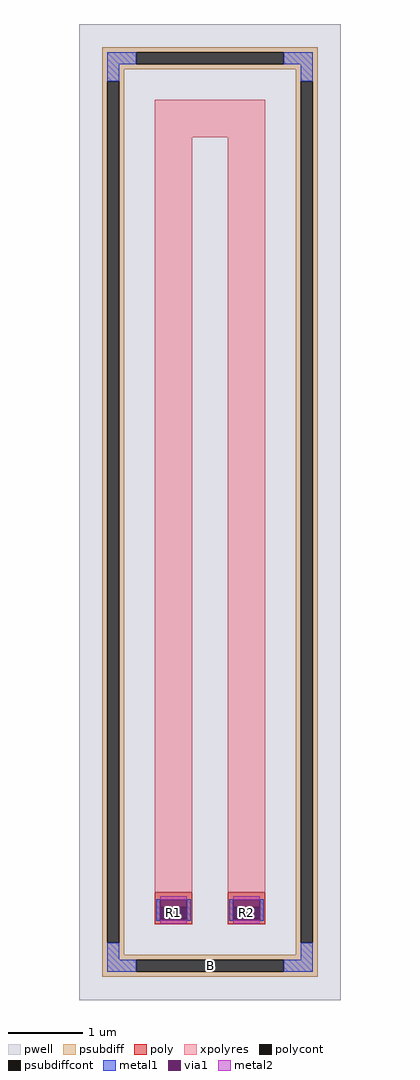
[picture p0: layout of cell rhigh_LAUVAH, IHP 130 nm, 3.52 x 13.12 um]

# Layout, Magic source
magic
tech ihp-sg13g2
magscale 1 2
<< pwell >>
rect -352 -1312 352 1312
<< psubdiff >>
rect -290 1236 290 1250
rect -290 1204 -198 1236
rect 198 1204 290 1236
rect -290 1190 290 1204
rect -290 1158 -230 1190
rect -290 -1158 -276 1158
rect -244 -1158 -230 1158
rect 230 1158 290 1190
rect -290 -1190 -230 -1158
rect 230 -1158 244 1158
rect 276 -1158 290 1158
rect 230 -1190 290 -1158
rect -290 -1204 290 -1190
rect -290 -1236 -198 -1204
rect 198 -1236 290 -1204
rect -290 -1250 290 -1236
<< psubdiffcont >>
rect -198 1204 198 1236
rect -276 -1158 -244 1158
rect 244 -1158 276 1158
rect -198 -1236 198 -1204
<< poly >>
rect -148 -1062 -48 -1022
rect -148 -1094 -134 -1062
rect -62 -1094 -48 -1062
rect -148 -1108 -48 -1094
rect 48 -1062 148 -1022
rect 48 -1094 62 -1062
rect 134 -1094 148 -1062
rect 48 -1108 148 -1094
<< polycont >>
rect -134 -1094 -62 -1062
rect 62 -1094 134 -1062
<< xpolyres >>
rect -148 1008 148 1108
rect -148 -1022 -48 1008
rect 48 -1022 148 1008
<< metal1 >>
rect -276 1204 -198 1236
rect 198 1204 276 1236
rect -276 1158 -244 1204
rect 244 1158 276 1204
rect -144 -1042 -52 -1041
rect -144 -1098 -134 -1042
rect -62 -1098 -52 -1042
rect -144 -1099 -52 -1098
rect 52 -1042 144 -1041
rect 52 -1098 62 -1042
rect 134 -1098 144 -1042
rect 52 -1099 144 -1098
rect -276 -1204 -244 -1158
rect 244 -1204 276 -1158
rect -276 -1236 -198 -1204
rect 198 -1236 276 -1204
<< via1 >>
rect -134 -1062 -62 -1042
rect -134 -1094 -62 -1062
rect -134 -1098 -62 -1094
rect 62 -1062 134 -1042
rect 62 -1094 134 -1062
rect 62 -1098 134 -1094
<< metal2 >>
rect -134 -1042 -62 -1033
rect -134 -1107 -62 -1098
rect 62 -1042 134 -1033
rect 62 -1107 134 -1098
<< labels >>
rlabel psubdiffcont 0 -1220 0 -1220 0 B
port 1 nsew
rlabel polycont -98 -1078 -98 -1078 0 R1
port 2 nsew
rlabel polycont 98 -1078 98 -1078 0 R2
port 3 nsew
<< properties >>
string FIXED_BBOX -260 -1220 260 1220
string gencell rhigh
string library sg13g2
string parameters w 0.50 l 10.448 m 1 nx 2 wmin 0.50 lmin 0.50 class resistor rho 1360 val 58.197k dummy 0 dw 0.0 term 0.0 sterm 0.0 caplen 0 guard 1 glc 1 grc 1 gtc 1 gbc 1 snake 1 full_metal 1 n_guard 0 hv_guard 0 vias 1 viagb 0 viagt 0 viagl 0 viagr 0 doports 1
<< end >>
